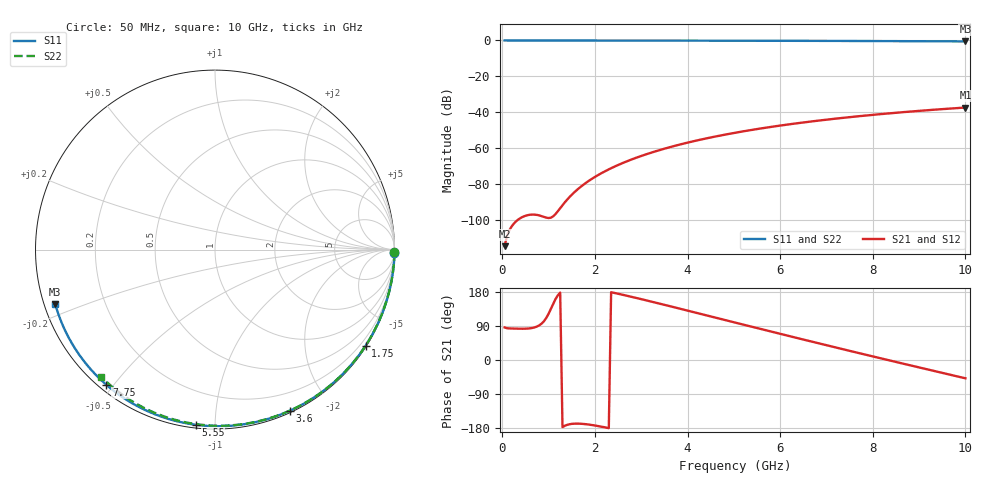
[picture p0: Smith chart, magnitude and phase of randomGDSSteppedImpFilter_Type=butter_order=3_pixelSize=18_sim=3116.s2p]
! freq	dB(S11)	phase(S11)	dB(S12)	phase(S12)
!  dB(S21)	phase(S21)	dB(S22)	phase(S22)
!S-par simulation data
#  GHz  S  DB  R 50
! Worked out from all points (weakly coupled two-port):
!   200 points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, 50 MHz to 10 GHz, reference 50 ohm
!   highest |S21| = -37.45 dB at 10 GHz (marker M1); lowest = -114.8 dB at 50 MHz (marker M2)
!   lowest |S11| = -0.5 dB at 10 GHz (marker M3), VSWR 32.54, Z = 1.58 - j8.28 ohm
!   |S11| at or under -10 dB: nowhere
!   |S22| runs from -0.4 to 0.0 dB; largest |S21 - S12| = 0
!   S11 on the Smith chart (normalised r, x): 50 MHz: open; 1.75 GHz: 0.03, -3.43; 3.6 GHz: 0.02, -1.57; 5.55 GHz: 0.02, -0.90; 7.75 GHz: 0.02, -0.48; 10 GHz: 0.03, -0.17
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0.05  -0.00 -0.9  -114.85 85.9  -114.85 85.9  -0.00 -0.8
0.45  -0.01 -8.5  -98.38 82.5  -98.38 82.5  -0.01 -6.9
0.85  -0.02 -16.0  -98.08 96.1  -98.08 96.1  -0.02 -12.9
1.3  -0.03 -24.3  -91.97 -177.1  -91.97 -177.1  -0.02 -19.6
1.75  -0.04 -32.5  -80.56 -168.7  -80.56 -168.7  -0.03 -26.3
1.8  -0.04 -33.4  -79.61 -169.3  -79.61 -169.3  -0.03 -27.0
1.95  -0.05 -36.1  -77.00 -171.8  -77.00 -171.8  -0.04 -29.2
2.15  -0.05 -39.7  -73.97 -176.1  -73.97 -176.1  -0.04 -32.1
2.5  -0.06 -45.9  -69.54 174.9  -69.54 174.9  -0.05 -37.2
2.9  -0.07 -53.0  -65.40 163.6  -65.40 163.6  -0.06 -43.0
3.4  -0.08 -61.5  -61.18 148.7  -61.18 148.7  -0.07 -50.0
3.6  -0.09 -64.9  -59.70 142.6  -59.70 142.6  -0.07 -52.8
4.3  -0.11 -76.5  -55.26 121.2  -55.26 121.2  -0.09 -62.4
5.05  -0.14 -88.5  -51.43 98.1  -51.43 98.1  -0.11 -72.4
5.55  -0.16 -96.3  -49.26 82.8  -49.26 82.8  -0.13 -78.9
6.1  -0.19 -104.6  -47.16 66.1  -47.16 66.1  -0.15 -85.9
6.7  -0.22 -113.5  -45.14 48.0  -45.14 48.0  -0.18 -93.3
7.2  -0.26 -120.9  -43.64 33.0  -43.64 33.0  -0.21 -99.4
7.75  -0.30 -128.8  -42.16 16.8  -42.16 16.8  -0.24 -105.9
8.35  -0.35 -137.4  -40.71 -0.8  -40.71 -0.8  -0.29 -113.0
9.2  -0.44 -149.6  -38.91 -25.4  -38.91 -25.4  -0.36 -122.8
10  -0.53 -161.2  -37.45 -48.3  -37.45 -48.3  -0.45 -131.8
